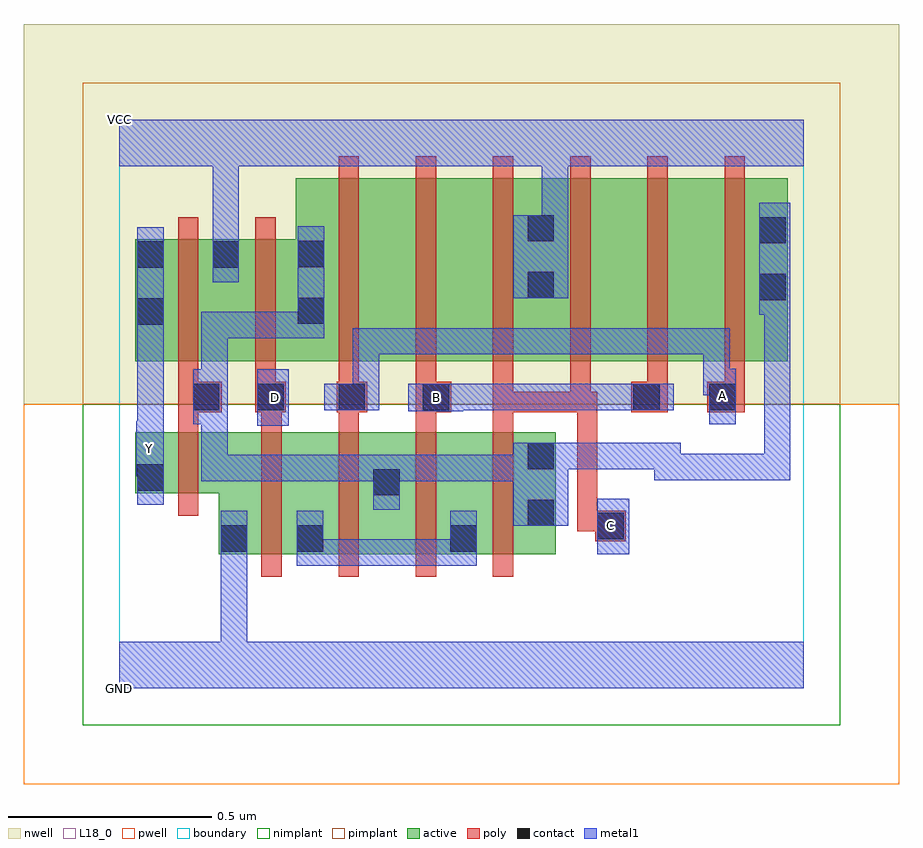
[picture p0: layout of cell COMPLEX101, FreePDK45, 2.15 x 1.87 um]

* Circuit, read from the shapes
.subckt COMPLEX101 A B C D GND VCC Y
M1 GND n1 Y VSUBS nfet w=0.15u l=0.05u
M2 n2 D GND VSUBS nfet w=0.3u l=0.05u
M3 n1 A n2 VSUBS nfet w=0.3u l=0.05u
M4 n2 B n1 VSUBS nfet w=0.3u l=0.05u
M5 n1 C n2 VSUBS nfet w=0.3u l=0.05u
M6 VCC n1 Y n3 pfet w=0.3u l=0.05u
M7 n1 D VCC n3 pfet w=0.3u l=0.05u
M8 n4 A n1 n3 pfet w=0.45u l=0.05u
M9 n5 B n4 n3 pfet w=0.45u l=0.05u
M10 VCC C n5 n3 pfet w=0.45u l=0.05u
M11 n6 C VCC n3 pfet w=0.45u l=0.05u
M12 n7 B n6 n3 pfet w=0.45u l=0.05u
M13 n1 A n7 n3 pfet w=0.45u l=0.05u
.ends

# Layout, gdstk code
import gdstk
lib = gdstk.Library(unit=1e-6, precision=1e-09)
def R(c, l, rs):  # rectangles x0, y0, x1, y1
    for r in rs: c.add(gdstk.rectangle(r[:2], r[2:], *l))
def A(c, l, x, y, w, h, nx, ny, dx, dy):  # array of equal rectangles
    R(c, l, [(x+i*dx, y+j*dy, x+i*dx+w, y+j*dy+h) for i in range(nx) for j in range(ny)])
active = (1, 0)
pwell = (2, 0)
nwell = (3, 0)
nimplant = (4, 0)
pimplant = (5, 0)
poly = (9, 0)
contact = (10, 0)
metal1 = (11, 0)
L18_0 = (18, 0)
boundary = (235, 0)

complex101 = lib.new_cell('COMPLEX101')
R(complex101, active, [(0.245,0.33,0.507,0.63), (0.432,0.33,0.695,0.63), (0.62,0.33,0.885,0.63), (0.81,0.33,1.075,0.63), (0.245,0.332,0.32,0.547), (0.432,0.332,0.507,0.547), (0.81,0.332,0.885,0.547), (0.62,0.345,0.695,0.545), (1,0.345,1.075,0.63), (0.04,0.48,0.32,0.63), (0.04,0.48,0.115,0.63), (0.04,0.805,0.115,1.105), (0.04,0.805,0.3,1.105), (0.225,0.805,0.51,1.105), (0.225,0.805,0.3,1.105), (0.435,0.805,0.51,1.2), (0.435,0.805,0.66,1.255), (0.66,0.805,0.85,1.255), (0.85,0.805,1.075,1.255), (1,0.805,1.23,1.255), (1,0.805,1.075,1.255), (1.23,0.805,1.42,1.255), (1.42,0.805,1.645,1.255), (1.57,0.805,1.645,1.2)])
R(complex101, pwell, [(-0.235,-0.235,1.92,0.7)])
R(complex101, nwell, [(-0.235,0.7,1.92,1.635)])
R(complex101, nimplant, [(-0.09,-0.09,1.775,0.7)])
R(complex101, pimplant, [(-0.09,0.7,1.775,1.49)])
A(complex101, poly, 0.35, 0.275, 0.05, 0.41, 4, 1, 0.19, 0)
A(complex101, poly, 0.35, 0.635, 0.05, 0.095, 4, 1, 0.19, 0)
A(complex101, poly, 0.54, 0.75, 0.05, 0.56, 6, 1, 0.19, 0)
R(complex101, poly, [(1.172,0.362,1.247,0.437), (1.127,0.387,1.177,0.73), (1.127,0.387,1.222,0.437), (1.172,0.387,1.222,0.437), (0.145,0.425,0.195,0.685), (0.145,0.635,0.195,0.73), (0.145,0.68,0.252,0.755), (0.335,0.68,0.41,0.755), (0.535,0.68,0.61,0.755), (0.73,0.68,0.817,0.755), (0.92,0.68,0.97,0.8), (0.92,0.68,1.16,0.73), (0.92,0.68,0.97,0.73), (0.92,0.68,0.97,0.73), (0.92,0.68,0.97,0.73), (1.11,0.68,1.16,0.8), (1.11,0.68,1.177,0.73), (1.26,0.68,1.35,0.755), (1.447,0.68,1.54,0.755), (0.145,0.705,0.195,0.8), (0.335,0.705,0.385,0.8), (0.54,0.705,0.59,0.8), (0.73,0.705,0.78,0.8), (1.3,0.705,1.35,0.8), (1.49,0.705,1.54,0.8), (0.145,0.75,0.195,1.16), (0.335,0.75,0.385,1.16)])
R(complex101, contact, [(0.25,0.337,0.315,0.402), (0.437,0.337,0.502,0.402), (0.815,0.337,0.88,0.402), (1.177,0.367,1.242,0.432), (1.005,0.4,1.07,0.465), (0.625,0.475,0.69,0.54), (0.045,0.487,0.11,0.552), (1.005,0.54,1.07,0.605), (0.182,0.685,0.247,0.75), (0.34,0.685,0.405,0.75), (0.54,0.685,0.605,0.75), (0.747,0.685,0.812,0.75), (1.265,0.685,1.33,0.75), (1.452,0.685,1.517,0.75), (0.045,0.895,0.11,0.96), (0.44,0.897,0.505,0.962), (1.575,0.955,1.64,1.02), (1.005,0.96,1.07,1.025), (0.045,1.035,0.11,1.1), (0.23,1.035,0.295,1.1), (0.44,1.037,0.505,1.102), (1.575,1.095,1.64,1.16), (1.005,1.1,1.07,1.165)])
R(complex101, metal1, [(0,0,1.685,0.115), (0.25,0.05,0.315,0.115), (0.25,0.05,0.315,0.115), (0.25,0.05,0.315,0.367), (0.25,0.302,0.315,0.367), (0.25,0.302,0.315,0.367), (0.25,0.302,0.315,0.437), (0.437,0.302,0.64,0.367), (0.437,0.302,0.502,0.437), (0.575,0.302,0.64,0.367), (0.575,0.302,0.64,0.367), (0.575,0.302,0.64,0.367), (0.575,0.302,0.847,0.367), (0.782,0.302,0.847,0.367), (0.782,0.302,0.88,0.367), (0.815,0.302,0.88,0.437), (1.177,0.33,1.255,0.467), (0.97,0.4,1.105,0.605), (0.625,0.44,0.69,0.575), (0.045,0.452,0.11,0.587), (0.202,0.51,0.267,0.575), (0.202,0.51,0.405,0.575), (0.202,0.51,0.267,0.785), (0.34,0.51,0.405,0.575), (0.34,0.51,0.405,0.575), (0.34,0.51,0.405,0.575), (0.34,0.51,0.57,0.575), (0.505,0.51,0.57,0.575), (0.505,0.51,0.69,0.575), (0.625,0.51,0.827,0.575), (0.762,0.51,0.827,0.575), (0.762,0.51,0.827,0.575), (0.762,0.51,0.827,0.575), (0.762,0.51,0.985,0.575), (0.92,0.51,0.985,0.575), (0.92,0.51,1.035,0.575), (1.317,0.512,1.495,0.577), (1.317,0.512,1.382,0.605), (1.43,0.512,1.495,0.577), (1.43,0.512,1.652,0.577), (1.587,0.512,1.652,0.985), (1.587,0.512,1.652,0.577), (1.587,0.512,1.652,0.577), (1.587,0.512,1.652,0.577), (1.587,0.512,1.652,0.577), (1.587,0.512,1.652,0.577), (0.042,0.522,0.11,0.657), (0.045,0.522,0.11,0.587), (1.04,0.54,1.122,0.605), (1.057,0.54,1.122,0.605), (1.057,0.54,1.357,0.605), (1.292,0.54,1.357,0.605), (1.292,0.54,1.382,0.605), (0.045,0.592,0.11,0.925), (0.34,0.647,0.417,0.785), (0.182,0.65,0.247,0.785), (1.452,0.65,1.517,0.787), (0.712,0.682,0.847,0.75), (0.505,0.685,0.64,0.75), (0.575,0.685,0.64,0.75), (0.575,0.685,0.64,0.75), (0.575,0.685,0.64,0.887), (0.782,0.685,0.847,0.75), (0.782,0.685,0.847,0.75), (0.782,0.685,0.985,0.75), (0.92,0.685,0.985,0.75), (0.92,0.685,1.122,0.75), (1.057,0.685,1.122,0.75), (1.057,0.685,1.122,0.75), (1.057,0.685,1.122,0.75), (1.057,0.685,1.295,0.75), (1.23,0.685,1.295,0.75), (1.23,0.685,1.295,0.75), (1.23,0.685,1.365,0.75), (0.182,0.72,0.267,0.785), (0.202,0.72,0.267,0.785), (0.202,0.72,0.267,0.927), (1.437,0.722,1.502,0.787), (1.437,0.722,1.517,0.787), (1.437,0.722,1.502,0.887), (0.575,0.822,0.64,0.887), (0.575,0.822,0.847,0.887), (0.782,0.822,0.847,0.887), (0.782,0.822,0.847,0.887), (0.782,0.822,0.847,0.887), (0.782,0.822,0.985,0.887), (0.92,0.822,0.985,0.887), (0.92,0.822,1.157,0.887), (1.092,0.822,1.157,0.887), (1.092,0.822,1.157,0.887), (1.092,0.822,1.157,0.887), (1.092,0.822,1.357,0.887), (1.292,0.822,1.357,0.887), (1.292,0.822,1.357,0.887), (1.292,0.822,1.357,0.887), (1.292,0.822,1.502,0.887), (1.437,0.822,1.502,0.887), (0.045,0.86,0.11,1.135), (0.202,0.862,0.267,0.927), (0.202,0.862,0.432,0.927), (0.367,0.862,0.432,0.927), (0.367,0.862,0.505,0.927), (0.44,0.862,0.505,1.137), (1.575,0.92,1.652,1.195), (0.97,0.96,1.105,1.165), (0.23,1,0.295,1.135), (0.23,1.07,0.295,1.35), (1.04,1.1,1.105,1.35), (0,1.285,1.685,1.4), (0.23,1.285,0.295,1.35), (0.23,1.285,0.295,1.35)])
R(complex101, L18_0, [(0,0,1.685,0.115), (0.25,0.05,0.315,0.115), (0.25,0.05,0.315,0.115), (0.25,0.05,0.315,0.367), (0.25,0.302,0.315,0.437), (0.25,0.302,0.315,0.367), (0.25,0.302,0.315,0.367), (1.177,0.33,1.255,0.467), (1.177,0.367,1.242,0.432), (0.045,0.452,0.11,0.587), (0.042,0.522,0.11,0.657), (0.045,0.522,0.11,0.587), (0.042,0.557,0.107,0.622), (0.045,0.592,0.11,0.925), (0.34,0.647,0.417,0.785), (1.452,0.65,1.517,0.787), (0.352,0.682,0.417,0.747), (0.712,0.682,0.847,0.75), (0.747,0.682,0.812,0.747), (0.505,0.685,0.64,0.75), (0.575,0.685,0.64,0.75), (0.575,0.685,0.64,0.75), (0.575,0.685,0.64,0.887), (0.782,0.685,0.847,0.75), (0.782,0.685,0.847,0.75), (0.782,0.685,0.985,0.75), (0.92,0.685,0.985,0.75), (0.92,0.685,1.122,0.75), (1.057,0.685,1.122,0.75), (1.057,0.685,1.122,0.75), (1.057,0.685,1.122,0.75), (1.057,0.685,1.295,0.75), (1.23,0.685,1.295,0.75), (1.23,0.685,1.295,0.75), (1.23,0.685,1.365,0.75), (1.452,0.687,1.517,0.752), (1.437,0.722,1.502,0.787), (1.437,0.722,1.502,0.887), (1.437,0.722,1.517,0.787), (0.575,0.822,0.64,0.887), (0.575,0.822,0.847,0.887), (0.782,0.822,0.847,0.887), (0.782,0.822,0.847,0.887), (0.782,0.822,0.847,0.887), (0.782,0.822,0.985,0.887), (0.92,0.822,0.985,0.887), (0.92,0.822,1.157,0.887), (1.092,0.822,1.157,0.887), (1.092,0.822,1.157,0.887), (1.092,0.822,1.157,0.887), (1.092,0.822,1.357,0.887), (1.292,0.822,1.357,0.887), (1.292,0.822,1.357,0.887), (1.292,0.822,1.357,0.887), (1.292,0.822,1.502,0.887), (1.437,0.822,1.502,0.887), (0.045,0.86,0.11,1.135), (0.97,0.96,1.105,1.165), (0.23,1,0.295,1.135), (0.23,1.07,0.295,1.35), (1.04,1.1,1.105,1.35), (0,1.285,1.685,1.4), (0.23,1.285,0.295,1.35), (0.23,1.285,0.295,1.35)])
R(complex101, boundary, [(0,0,1.685,1.4)])
complex101.add(gdstk.Label('A', (1.485,0.72), layer=11, texttype=0))
complex101.add(gdstk.Label('B', (0.78,0.715), layer=11, texttype=0))
complex101.add(gdstk.Label('C', (1.21,0.4), layer=11, texttype=0))
complex101.add(gdstk.Label('D', (0.385,0.715), layer=11, texttype=0))
complex101.add(gdstk.Label('Y', (0.075,0.59), layer=11, texttype=0))
complex101.add(gdstk.Label('VCC', (0,1.4), layer=11, texttype=0))
complex101.add(gdstk.Label('GND', (0,0), layer=11, texttype=0))

lib.write_gds('COMPLEX101.gds')
